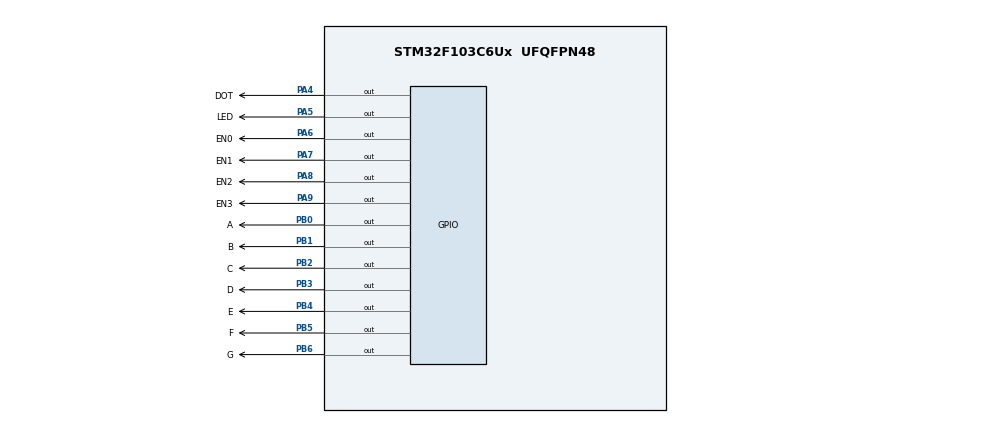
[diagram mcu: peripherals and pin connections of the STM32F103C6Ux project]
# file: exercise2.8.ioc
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Mcu.Family=STM32F1
Mcu.Name=STM32F103C6Ux
Mcu.Package=UFQFPN48
NVIC.PriorityGroup=NVIC_PRIORITYGROUP_4
NVIC.TIM2_IRQn=true\:0\:0\:false\:false\:true\:true\:true
PA4.GPIO_Label=DOT
PA4.Signal=GPIO_Output
PA5.GPIO_Label=LED
PA5.Signal=GPIO_Output
PA6.GPIO_Label=EN0
PA6.Signal=GPIO_Output
PA7.GPIO_Label=EN1
PA7.Signal=GPIO_Output
PA8.GPIO_Label=EN2
PA8.Signal=GPIO_Output
PA9.GPIO_Label=EN3
PA9.Signal=GPIO_Output
PB0.GPIO_Label=A
PB0.Signal=GPIO_Output
PB1.GPIO_Label=B
PB1.Signal=GPIO_Output
PB2.GPIO_Label=C
PB2.Signal=GPIO_Output
PB3.GPIO_Label=D
PB3.Signal=GPIO_Output
PB4.GPIO_Label=E
PB4.Signal=GPIO_Output
PB5.GPIO_Label=F
PB5.Signal=GPIO_Output
PB6.GPIO_Label=G
PB6.Signal=GPIO_Output
ProjectManager.HeapSize=0x200
ProjectManager.StackSize=0x400
ProjectManager.TargetToolchain=STM32CubeIDE
RCC.APB1Freq_Value=8000000
RCC.APB2Freq_Value=8000000
TIM2.Period=9
TIM2.Prescaler=7999
VP_SYS_VS_ND.Mode=No_Debug
VP_TIM2_VS_ClockSourceINT.Mode=Internal
board=custom

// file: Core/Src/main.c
/* USER CODE BEGIN Header */
/**
  ******************************************************************************
  * @file           : main.c
  * @brief          : Main program body
  ******************************************************************************
  * @attention
  *
  * <h2><center>&copy; Copyright (c) 2025 STMicroelectronics.
  * All rights reserved.</center></h2>
  *
  * This software component is licensed by ST under BSD 3-Clause license,
  * the "License"; You may not use this file except in compliance with the
  * License. You may obtain a copy of the License at:
  *                        opensource.org/licenses/BSD-3-Clause
  *
  ******************************************************************************
  */
/* USER CODE END Header */
#include "main.h"

TIM_HandleTypeDef htim2;

/* USER CODE BEGIN PV */
void display7SEG(int num);
void update7SEG(int num);
void updateClockBuffer(int hour, int minute);
/* USER CODE END PV */

void SystemClock_Config(void);
static void MX_GPIO_Init(void);
static void MX_TIM2_Init(void);

/* USER CODE BEGIN 0 */
const uint8_t seg_table[10]={
			0b1000000,
			0b1111001,
			0b0100100,
			0b0110000,
			0b0011001,
			0b0010010,
			0b0000010,
			0b1111000,
			0b0000000,
			0b0010000
};
uint16_t seg_pins[7] ={A_Pin, B_Pin, C_Pin, D_Pin, E_Pin, F_Pin, G_Pin};
int timer0_counter =0;
int timer0_flag =0;
int timer1_counter =0;
int timer1_flag = 0;
#define TIMER_CYCLE 10
const int MAX_LED = 4;
int led_index =0;
int led_buffer[4] = {0,0,0,0};
void setTimer0(int duration){
	timer0_counter = duration/TIMER_CYCLE;
	timer0_flag =0;
}
void setTimer1(int duration){
	timer1_counter = duration / TIMER_CYCLE;
	timer1_flag = 0;
}
void timer_run(){
	if(timer0_counter >0){
		timer0_counter--;
		if(timer0_counter ==0) timer0_flag =1;
	}
	if(timer1_counter >0){
		timer1_counter--;
		if(timer1_counter ==0) timer1_flag =1;
	}
}
/* USER CODE END 0 */

int main(void)
{

  /* MCU Configuration--------------------------------------------------------*/

  /* Reset of all peripherals, Initializes the Flash interface and the Systick. */
  HAL_Init();

  /* Configure the system clock */
  SystemClock_Config();

  /* Initialize all configured peripherals */
  MX_GPIO_Init();
  MX_TIM2_Init();
  /* USER CODE BEGIN 2 */
  HAL_TIM_Base_Start_IT(&htim2);
  /* USER CODE END 2 */

  /* Infinite loop */
  /* USER CODE BEGIN WHILE */
  int hour =15, minute = 8, second = 50;
  setTimer0(1000);
  setTimer1(250);
  while (1)
  {
	  if(timer0_flag==1){
		  timer0_flag =0;
		  setTimer0(1000);

		  second++;
		  if(second>=60){
			  second=0;
			  minute++;
			  if(minute>=60){
				  minute=0;
				  hour++;
				  if(hour>=24) hour =0;
			  }
		  }
		  updateClockBuffer(hour, minute);
		  HAL_GPIO_TogglePin(GPIOA, LED_Pin);
		  HAL_GPIO_TogglePin(GPIOA, DOT_Pin);
	  }
	  if(timer1_flag ==1){
		  timer1_flag =0;
		  setTimer1(250);

		  update7SEG(led_index);
		  led_index++;
		  if(led_index >= MAX_LED) led_index =0;
	  }
    /* USER CODE END WHILE */

  }
}

void SystemClock_Config(void)
{
  RCC_OscInitTypeDef RCC_OscInitStruct = {0};
  RCC_ClkInitTypeDef RCC_ClkInitStruct = {0};

  /** Initializes the RCC Oscillators according to the specified parameters
  * in the RCC_OscInitTypeDef structure.
  */
  RCC_OscInitStruct.OscillatorType = RCC_OSCILLATORTYPE_HSI;
  RCC_OscInitStruct.HSIState = RCC_HSI_ON;
  RCC_OscInitStruct.HSICalibrationValue = RCC_HSICALIBRATION_DEFAULT;
  RCC_OscInitStruct.PLL.PLLState = RCC_PLL_NONE;
  if (HAL_RCC_OscConfig(&RCC_OscInitStruct) != HAL_OK)
  {
    Error_Handler();
  }
  /** Initializes the CPU, AHB and APB buses clocks
  */
  RCC_ClkInitStruct.ClockType = RCC_CLOCKTYPE_HCLK|RCC_CLOCKTYPE_SYSCLK
                              |RCC_CLOCKTYPE_PCLK1|RCC_CLOCKTYPE_PCLK2;
  RCC_ClkInitStruct.SYSCLKSource = RCC_SYSCLKSOURCE_HSI;
  RCC_ClkInitStruct.AHBCLKDivider = RCC_SYSCLK_DIV1;
  RCC_ClkInitStruct.APB1CLKDivider = RCC_HCLK_DIV1;
  RCC_ClkInitStruct.APB2CLKDivider = RCC_HCLK_DIV1;

  if (HAL_RCC_ClockConfig(&RCC_ClkInitStruct, FLASH_LATENCY_0) != HAL_OK)
  {
    Error_Handler();
  }
}

static void MX_TIM2_Init(void)
{

  TIM_ClockConfigTypeDef sClockSourceConfig = {0};
  TIM_MasterConfigTypeDef sMasterConfig = {0};

  htim2.Instance = TIM2;
  htim2.Init.Prescaler = 7999;
  htim2.Init.CounterMode = TIM_COUNTERMODE_UP;
  htim2.Init.Period = 9;
  htim2.Init.ClockDivision = TIM_CLOCKDIVISION_DIV1;
  htim2.Init.AutoReloadPreload = TIM_AUTORELOAD_PRELOAD_DISABLE;
  if (HAL_TIM_Base_Init(&htim2) != HAL_OK)
  {
    Error_Handler();
  }
  sClockSourceConfig.ClockSource = TIM_CLOCKSOURCE_INTERNAL;
  if (HAL_TIM_ConfigClockSource(&htim2, &sClockSourceConfig) != HAL_OK)
  {
    Error_Handler();
  }
  sMasterConfig.MasterOutputTrigger = TIM_TRGO_RESET;
  sMasterConfig.MasterSlaveMode = TIM_MASTERSLAVEMODE_DISABLE;
  if (HAL_TIMEx_MasterConfigSynchronization(&htim2, &sMasterConfig) != HAL_OK)
  {
    Error_Handler();
  }

}

static void MX_GPIO_Init(void)
{
  GPIO_InitTypeDef GPIO_InitStruct = {0};

  /* GPIO Ports Clock Enable */
  __HAL_RCC_GPIOA_CLK_ENABLE();
  __HAL_RCC_GPIOB_CLK_ENABLE();

  /*Configure GPIO pin Output Level */
  HAL_GPIO_WritePin(GPIOA, DOT_Pin|LED_Pin|EN0_Pin|EN1_Pin
                          |EN2_Pin|EN3_Pin, GPIO_PIN_RESET);

  /*Configure GPIO pin Output Level */
  HAL_GPIO_WritePin(GPIOB, A_Pin|B_Pin|C_Pin|D_Pin
                          |E_Pin|F_Pin|G_Pin, GPIO_PIN_RESET);

  /*Configure GPIO pins : DOT_Pin LED_Pin EN0_Pin EN1_Pin
                           EN2_Pin EN3_Pin */
  GPIO_InitStruct.Pin = DOT_Pin|LED_Pin|EN0_Pin|EN1_Pin
                          |EN2_Pin|EN3_Pin;
  GPIO_InitStruct.Mode = GPIO_MODE_OUTPUT_PP;
  GPIO_InitStruct.Pull = GPIO_NOPULL;
  GPIO_InitStruct.Speed = GPIO_SPEED_FREQ_LOW;
  HAL_GPIO_Init(GPIOA, &GPIO_InitStruct);

  /*Configure GPIO pins : A_Pin B_Pin C_Pin D_Pin
                           E_Pin F_Pin G_Pin */
  GPIO_InitStruct.Pin = A_Pin|B_Pin|C_Pin|D_Pin
                          |E_Pin|F_Pin|G_Pin;
  GPIO_InitStruct.Mode = GPIO_MODE_OUTPUT_PP;
  GPIO_InitStruct.Pull = GPIO_NOPULL;
  GPIO_InitStruct.Speed = GPIO_SPEED_FREQ_LOW;
  HAL_GPIO_Init(GPIOB, &GPIO_InitStruct);

}

/* USER CODE BEGIN 4 */
void display7SEG(int num){
	uint8_t pattern= seg_table[num];
		for(int i=0; i< 7; i++){
			if( pattern & (1<<i) )
				HAL_GPIO_WritePin(GPIOB, seg_pins[i], SET);
			else
				HAL_GPIO_WritePin(GPIOB, seg_pins[i], RESET);
		}
}
void update7SEG(int index){
	HAL_GPIO_WritePin(GPIOA, EN0_Pin | EN1_Pin | EN2_Pin | EN3_Pin, SET);
	  if(index < 0 || index >= MAX_LED) return;
	  display7SEG( led_buffer[index] );
	switch (index){
	case 0:
		HAL_GPIO_WritePin(GPIOA, EN0_Pin, RESET);
		break;
	case 1:
		HAL_GPIO_WritePin(GPIOA, EN1_Pin, RESET);
		break;
	case 2:
		HAL_GPIO_WritePin(GPIOA, EN2_Pin, RESET);
		break;
	case 3:
		HAL_GPIO_WritePin(GPIOA, EN3_Pin, RESET);
		break;
	default:
		break;
	}
}
void updateClockBuffer(int hour, int minute){
	 if(hour < 0) hour = 0;
	    if(minute < 0) minute = 0;
	    led_buffer[0] = (hour / 10) % 10;
	    led_buffer[1] = hour % 10;
	    led_buffer[2] = (minute / 10) % 10;
	    led_buffer[3] = minute % 10;
}
void HAL_TIM_PeriodElapsedCallback(TIM_HandleTypeDef *htim){
	if(htim->Instance == TIM2){
		timer_run();
	}
}
/* USER CODE END 4 */

void Error_Handler(void)
{
  __disable_irq();
  while (1)
  {
  }
}

/************************ (C) COPYRIGHT STMicroelectronics *****END OF FILE****/
